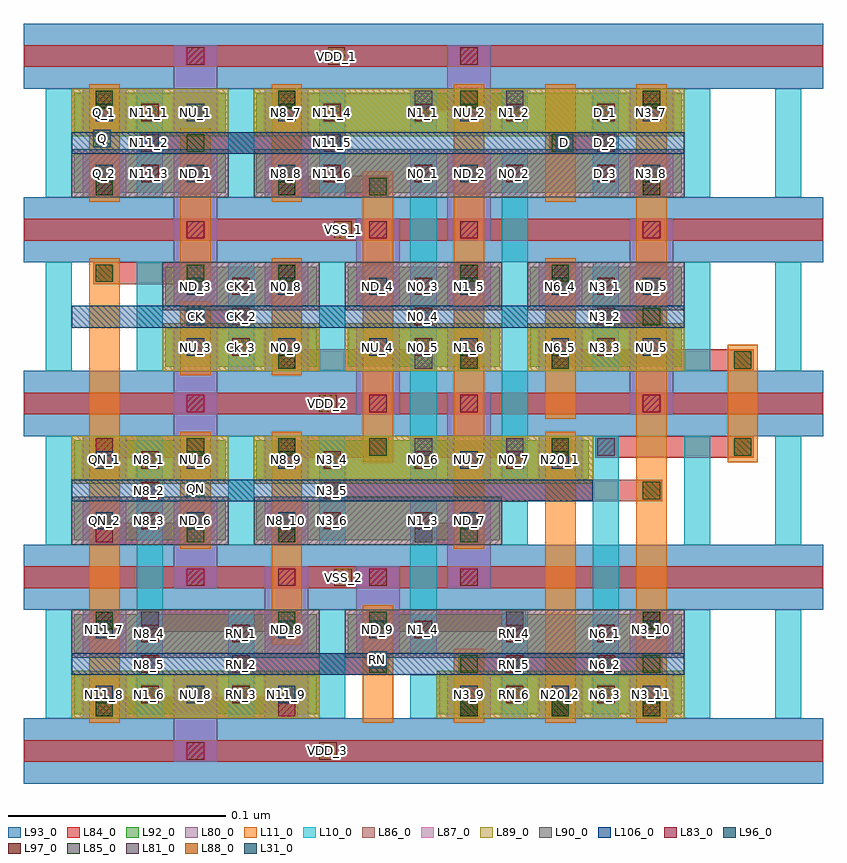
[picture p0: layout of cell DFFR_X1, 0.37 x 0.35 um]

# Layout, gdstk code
import gdstk
lib = gdstk.Library(unit=1e-6, precision=1e-09)
def R(c, l, rs):  # rectangles x0, y0, x1, y1
    for r in rs: c.add(gdstk.rectangle(r[:2], r[2:], *l))
def A(c, l, x, y, w, h, nx, ny, dx, dy):  # array of equal rectangles
    R(c, l, [(x+i*dx, y+j*dy, x+i*dx+w, y+j*dy+h) for i in range(nx) for j in range(ny)])
L10_0 = (10, 0)
L11_0 = (11, 0)
L31_0 = (31, 0)
L80_0 = (80, 0)
L81_0 = (81, 0)
L83_0 = (83, 0)
L84_0 = (84, 0)
L85_0 = (85, 0)
L86_0 = (86, 0)
L87_0 = (87, 0)
L88_0 = (88, 0)
L89_0 = (89, 0)
L90_0 = (90, 0)
L92_0 = (92, 0)
L93_0 = (93, 0)
L96_0 = (96, 0)
L97_0 = (97, 0)
L106_0 = (106, 0)

dffr_x1 = lib.new_cell('DFFR_X1')
A(dffr_x1, L10_0, 0.12, -0.065, 0.012, 0.05, 3, 1, 0.084, 0)
A(dffr_x1, L10_0, -0.006, 0.095, 0.012, 0.05, 4, 2, 0.042, 0.08)
A(dffr_x1, L10_0, 0.246, 0.095, 0.012, 0.05, 3, 2, 0.042, 0.08)
R(dffr_x1, L10_0, [(-0.006,-0.065,0.006,-0.015), (0.036,-0.065,0.048,0.065), (0.078,-0.065,0.09,-0.015), (0.162,-0.065,0.174,-0.045), (0.246,-0.065,0.258,0.065), (0.33,-0.065,0.342,-0.015), (0.162,-0.035,0.174,0.035), (-0.006,0.015,0.006,0.065), (0.078,0.015,0.09,0.065), (0.12,0.015,0.132,0.065), (0.204,0.015,0.216,0.035), (0.288,0.015,0.3,0.065), (0.33,0.015,0.342,0.065), (0.162,0.045,0.174,0.065), (0.162,0.045,0.174,0.195), (0.204,0.045,0.216,0.195), (0.162,0.205,0.174,0.225), (0.204,0.205,0.216,0.225)])
A(dffr_x1, L11_0, 0.098, 0.033, 0.014, 0.034, 3, 1, 0.084, 0)
A(dffr_x1, L11_0, 0.14, 0.073, 0.014, 0.034, 4, 1, 0.042, 0)
A(dffr_x1, L11_0, 0.056, 0.093, 0.014, 0.034, 6, 1, 0.042, 0)
A(dffr_x1, L11_0, 0.098, 0.113, 0.014, 0.034, 5, 1, 0.042, 0)
A(dffr_x1, L11_0, 0.182, 0.133, 0.014, 0.034, 1, 3, 0, 0.02)
A(dffr_x1, L11_0, 0.266, 0.133, 0.014, 0.034, 1, 3, 0, 0.02)
A(dffr_x1, L11_0, 0.014, 0.173, 0.014, 0.034, 3, 1, 0.042, 0)
A(dffr_x1, L11_0, 0.014, 0.193, 0.014, 0.034, 4, 1, 0.084, 0)
R(dffr_x1, L11_0, [(0.014,-0.067,0.028,0.147), (0.14,-0.067,0.154,-0.013), (0.182,-0.067,0.196,-0.033), (0.224,-0.067,0.238,0.067), (0.266,-0.067,0.28,0.047), (0.098,-0.031,0.112,0.047), (0.056,0.013,0.07,0.067), (0.182,0.013,0.196,0.047), (0.14,0.053,0.154,0.087), (0.182,0.053,0.196,0.087), (0.266,0.053,0.28,0.087), (0.308,0.053,0.322,0.107), (0.056,0.133,0.07,0.167), (0.14,0.133,0.154,0.167), (0.056,0.153,0.07,0.187), (0.14,0.153,0.154,0.187), (0.224,0.173,0.238,0.227)])
R(dffr_x1, L31_0, [(0.143,-0.042,0.151,-0.034), (0.059,0.037,0.067,0.045), (0.059,0.116,0.067,0.124), (0.229,0.196,0.237,0.204), (0.016,0.198,0.024,0.206)])
A(dffr_x1, L80_0, 0.053, -0.085, 0.02, 0.021, 1, 4, 0, 0.08)
A(dffr_x1, L80_0, 0.011, -0.065, 0.02, 0.02, 3, 2, 0.042, 0.08)
A(dffr_x1, L80_0, 0.179, -0.065, 0.02, 0.02, 3, 1, 0.042, 0)
A(dffr_x1, L80_0, 0.053, 0.056, 0.02, 0.029, 1, 3, 0, 0.08)
A(dffr_x1, L80_0, 0.053, 0.095, 0.02, 0.02, 6, 1, 0.042, 0)
A(dffr_x1, L80_0, 0.011, 0.175, 0.02, 0.02, 3, 1, 0.042, 0)
R(dffr_x1, L80_0, [(0.011,-0.035,0.031,-0.015), (0.095,-0.035,0.115,-0.015), (0.137,-0.035,0.157,-0.015), (0.263,-0.035,0.283,-0.015), (0.095,-0.016,0.115,0.005), (0.137,-0.016,0.157,0.005), (0.179,-0.005,0.199,0.016), (0.179,0.015,0.199,0.035), (0.011,0.045,0.031,0.065), (0.011,0.045,0.031,0.065), (0.053,0.045,0.073,0.065), (0.053,0.045,0.073,0.065), (0.095,0.045,0.115,0.065), (0.095,0.045,0.115,0.065), (0.179,0.045,0.199,0.065), (0.179,0.045,0.199,0.065), (0.221,0.045,0.241,0.065), (0.179,0.056,0.199,0.085), (0.137,0.075,0.157,0.096), (0.263,0.075,0.283,0.096), (0.053,0.125,0.073,0.145), (0.053,0.125,0.073,0.145), (0.095,0.125,0.115,0.145), (0.095,0.125,0.115,0.145), (0.137,0.125,0.157,0.145), (0.137,0.125,0.157,0.145), (0.179,0.125,0.199,0.145), (0.179,0.125,0.199,0.145), (0.221,0.125,0.241,0.145), (0.221,0.125,0.241,0.145), (0.263,0.125,0.283,0.145), (0.263,0.125,0.283,0.145), (0.137,0.136,0.157,0.165), (0.263,0.136,0.283,0.165), (0.179,0.155,0.199,0.176), (0.179,0.175,0.199,0.195), (0.263,0.175,0.283,0.195), (0.011,0.205,0.031,0.225), (0.011,0.205,0.031,0.225), (0.053,0.205,0.073,0.225), (0.053,0.205,0.073,0.225), (0.095,0.205,0.115,0.225), (0.095,0.205,0.115,0.225), (0.179,0.205,0.199,0.225), (0.179,0.205,0.199,0.225), (0.263,0.205,0.283,0.225), (0.263,0.205,0.283,0.225), (0.179,0.216,0.199,0.245)])
A(dffr_x1, L81_0, 0.164, 0.056, 0.008, 0.008, 3, 1, 0.042, 0)
R(dffr_x1, L81_0, [(0.08,-0.044,0.088,-0.036), (0.038,-0.024,0.046,-0.016), (0.206,-0.024,0.214,-0.016), (0.164,0.016,0.172,0.024), (0.122,0.036,0.13,0.044), (0.164,0.096,0.172,0.104), (0.08,0.116,0.088,0.124), (0.08,0.116,0.088,0.124), (0.248,0.116,0.256,0.124), (0.038,0.196,0.046,0.204), (0.122,0.196,0.13,0.204), (0.122,0.196,0.13,0.204), (0.248,0.196,0.256,0.204), (0.248,0.196,0.256,0.204), (0.164,0.216,0.172,0.224), (0.164,0.216,0.172,0.224), (0.206,0.216,0.214,0.224), (0.206,0.216,0.214,0.224)])
A(dffr_x1, L83_0, 0.017, -0.064, 0.008, 0.008, 3, 1, 0.084, 0)
A(dffr_x1, L83_0, 0.017, -0.024, 0.008, 0.008, 1, 3, 0, 0.04)
A(dffr_x1, L83_0, 0.059, -0.004, 0.008, 0.008, 4, 1, 0.042, 0)
A(dffr_x1, L83_0, 0.101, 0.016, 0.008, 0.008, 1, 5, 0, 0.04)
A(dffr_x1, L83_0, 0.227, 0.056, 0.008, 0.008, 1, 3, 0, 0.04)
R(dffr_x1, L83_0, [(0.059,-0.084,0.067,-0.076), (0.227,-0.064,0.235,-0.056), (0.269,-0.064,0.277,-0.056), (0.269,-0.024,0.277,-0.016), (0.059,0.076,0.067,0.084), (0.143,0.076,0.151,0.084), (0.185,0.076,0.193,0.084), (0.269,0.076,0.277,0.084), (0.185,0.096,0.193,0.104), (0.185,0.136,0.193,0.144), (0.059,0.156,0.067,0.164), (0.059,0.156,0.067,0.164), (0.143,0.156,0.151,0.164), (0.185,0.156,0.193,0.164), (0.269,0.156,0.277,0.164), (0.017,0.176,0.025,0.184), (0.101,0.176,0.109,0.184), (0.269,0.176,0.277,0.184), (0.269,0.176,0.277,0.184), (0.017,0.216,0.025,0.224), (0.017,0.216,0.025,0.224), (0.017,0.216,0.025,0.224), (0.017,0.216,0.025,0.224), (0.017,0.216,0.025,0.224), (0.017,0.216,0.025,0.224), (0.101,0.216,0.109,0.224), (0.101,0.216,0.109,0.224), (0.269,0.216,0.277,0.224), (0.269,0.216,0.277,0.224), (0.059,0.236,0.067,0.244), (0.185,0.236,0.193,0.244)])
A(dffr_x1, L84_0, -0.016, -0.085, 0.368, 0.01, 1, 5, 0, 0.08)
A(dffr_x1, L84_0, 0.184, -0.065, 0.01, 0.01, 3, 1, 0.042, 0)
A(dffr_x1, L84_0, 0.121, 0.035, 0.031, 0.01, 7, 1, 0.021, 0)
A(dffr_x1, L84_0, 0.1, 0.095, 0.031, 0.01, 3, 1, 0.021, 0)
A(dffr_x1, L84_0, 0.037, 0.195, 0.031, 0.01, 4, 1, 0.021, 0)
R(dffr_x1, L84_0, [(0.016,-0.065,0.026,-0.055), (0.016,-0.065,0.11,-0.055), (0.079,-0.045,0.152,-0.035), (0.184,-0.045,0.278,-0.035), (0.016,-0.025,0.026,-0.015), (0.037,-0.025,0.11,-0.015), (0.142,-0.025,0.215,-0.015), (0.268,-0.025,0.278,-0.015), (0.016,0.015,0.068,0.025), (0.1,0.015,0.11,0.025), (0.163,0.015,0.194,0.025), (0.184,0.015,0.194,0.025), (0.016,0.055,0.068,0.065), (0.1,0.055,0.131,0.065), (0.121,0.055,0.152,0.065), (0.163,0.055,0.215,0.065), (0.226,0.055,0.236,0.065), (0.247,0.055,0.32,0.065), (0.184,0.095,0.194,0.105), (0.226,0.095,0.32,0.105), (0.058,0.115,0.089,0.125), (0.247,0.115,0.278,0.125), (0.016,0.135,0.047,0.145), (0.037,0.135,0.068,0.145), (0.1,0.135,0.11,0.145), (0.184,0.135,0.194,0.145), (0.226,0.135,0.236,0.145), (0.016,0.175,0.026,0.185), (0.1,0.175,0.131,0.185), (0.121,0.175,0.152,0.185), (0.268,0.175,0.278,0.185), (0.226,0.195,0.257,0.205), (0.016,0.215,0.026,0.225), (0.1,0.215,0.11,0.225), (0.163,0.215,0.194,0.225), (0.184,0.215,0.215,0.225), (0.268,0.215,0.278,0.225)])
A(dffr_x1, L85_0, 0.185, -0.064, 0.008, 0.008, 3, 1, 0.042, 0)
A(dffr_x1, L85_0, 0.101, 0.016, 0.008, 0.008, 1, 3, 0, 0.08)
A(dffr_x1, L85_0, 0.059, 0.056, 0.008, 0.008, 3, 1, 0.042, 0)
A(dffr_x1, L85_0, 0.227, 0.056, 0.008, 0.008, 1, 3, 0, 0.04)
A(dffr_x1, L85_0, 0.017, 0.136, 0.008, 0.008, 3, 1, 0.042, 0)
A(dffr_x1, L85_0, 0.017, 0.216, 0.008, 0.008, 4, 1, 0.084, 0)
R(dffr_x1, L85_0, [(0.017,-0.064,0.025,-0.056), (0.143,-0.044,0.151,-0.036), (0.185,-0.044,0.193,-0.036), (0.269,-0.044,0.277,-0.036), (0.017,-0.024,0.025,-0.016), (0.101,-0.024,0.109,-0.016), (0.143,-0.024,0.151,-0.016), (0.269,-0.024,0.277,-0.016), (0.059,0.016,0.067,0.024), (0.185,0.016,0.193,0.024), (0.269,0.036,0.277,0.044), (0.311,0.056,0.319,0.064), (0.185,0.096,0.193,0.104), (0.311,0.096,0.319,0.104), (0.059,0.116,0.067,0.124), (0.269,0.116,0.277,0.124), (0.185,0.136,0.193,0.144), (0.017,0.176,0.025,0.184), (0.143,0.176,0.151,0.184), (0.269,0.176,0.277,0.184), (0.059,0.196,0.067,0.204), (0.227,0.196,0.235,0.204)])
A(dffr_x1, L86_0, 0.048, 0.095, 0.072, 0.022, 3, 1, 0.084, 0)
R(dffr_x1, L86_0, [(0.006,-0.065,0.12,-0.043), (0.174,-0.065,0.288,-0.043), (0.006,0.043,0.078,0.065), (0.09,0.043,0.246,0.065), (0.006,0.203,0.078,0.225), (0.09,0.203,0.288,0.225)])
A(dffr_x1, L87_0, 0.048, 0.123, 0.072, 0.022, 3, 1, 0.084, 0)
R(dffr_x1, L87_0, [(0.006,-0.037,0.12,-0.015), (0.132,-0.037,0.288,-0.015), (0.006,0.015,0.078,0.037), (0.09,0.015,0.204,0.037), (0.006,0.175,0.078,0.197), (0.09,0.175,0.288,0.197)])
R(dffr_x1, L88_0, [(0.12,-0.084,0.128,-0.076), (0.127,-0.004,0.135,0.004), (0.12,0.076,0.128,0.084), (0.127,0.156,0.135,0.164), (0.124,0.236,0.132,0.244)])
A(dffr_x1, L89_0, 0.048, 0.095, 0.072, 0.022, 3, 1, 0.084, 0)
R(dffr_x1, L89_0, [(0.006,-0.065,0.12,-0.043), (0.174,-0.065,0.288,-0.043), (0.006,0.043,0.078,0.065), (0.09,0.043,0.246,0.065), (0.006,0.203,0.078,0.225), (0.09,0.203,0.288,0.225)])
A(dffr_x1, L90_0, 0.048, 0.123, 0.072, 0.022, 3, 1, 0.084, 0)
R(dffr_x1, L90_0, [(0.006,-0.037,0.12,-0.015), (0.132,-0.037,0.288,-0.015), (0.006,0.015,0.078,0.037), (0.09,0.015,0.204,0.037), (0.006,0.175,0.078,0.197), (0.09,0.175,0.288,0.197)])
A(dffr_x1, L92_0, 0.049, 0.097, 0.07, 0.018, 3, 2, 0.084, 0.028)
R(dffr_x1, L92_0, [(0.007,-0.063,0.119,-0.045), (0.175,-0.063,0.287,-0.045), (0.007,-0.035,0.119,-0.017), (0.133,-0.035,0.287,-0.017), (0.007,0.017,0.077,0.035), (0.091,0.017,0.203,0.035), (0.007,0.045,0.077,0.063), (0.091,0.045,0.244,0.063), (0.007,0.177,0.077,0.195), (0.091,0.177,0.287,0.195), (0.007,0.205,0.077,0.223), (0.091,0.205,0.287,0.223)])
A(dffr_x1, L93_0, -0.016, -0.095, 0.368, 0.03, 1, 5, 0, 0.08)
A(dffr_x1, L96_0, 0.017, -0.058, 0.008, 0.008, 3, 2, 0.042, 0.08)
A(dffr_x1, L96_0, 0.185, -0.058, 0.008, 0.008, 3, 1, 0.042, 0)
A(dffr_x1, L96_0, 0.017, 0.05, 0.008, 0.008, 3, 2, 0.042, 0.132)
A(dffr_x1, L96_0, 0.059, 0.102, 0.008, 0.008, 6, 2, 0.042, 0.028)
A(dffr_x1, L96_0, 0.017, 0.21, 0.008, 0.008, 3, 1, 0.042, 0)
R(dffr_x1, L96_0, [(0.185,-0.064,0.193,-0.056), (0.227,-0.064,0.235,-0.056), (0.017,-0.028,0.025,-0.02), (0.101,-0.028,0.109,-0.02), (0.143,-0.028,0.151,-0.02), (0.269,-0.028,0.277,-0.02), (0.185,0.022,0.193,0.03), (0.185,0.05,0.193,0.058), (0.227,0.05,0.235,0.058), (0.227,0.05,0.235,0.058), (0.185,0.182,0.193,0.19), (0.269,0.182,0.277,0.19), (0.185,0.21,0.193,0.218), (0.269,0.21,0.277,0.218)])
A(dffr_x1, L97_0, 0.038, -0.058, 0.008, 0.008, 1, 3, 0, 0.014)
A(dffr_x1, L97_0, 0.08, -0.058, 0.008, 0.008, 1, 3, 0, 0.014)
A(dffr_x1, L97_0, 0.206, -0.058, 0.008, 0.008, 1, 3, 0, 0.014)
A(dffr_x1, L97_0, 0.248, -0.058, 0.008, 0.008, 1, 3, 0, 0.014)
A(dffr_x1, L97_0, 0.038, 0.022, 0.008, 0.008, 1, 3, 0, 0.014)
A(dffr_x1, L97_0, 0.122, 0.05, 0.008, 0.008, 3, 1, 0.042, 0)
A(dffr_x1, L97_0, 0.08, 0.102, 0.008, 0.008, 3, 3, 0.084, 0.014)
A(dffr_x1, L97_0, 0.038, 0.182, 0.008, 0.008, 1, 3, 0, 0.014)
A(dffr_x1, L97_0, 0.122, 0.182, 0.008, 0.008, 4, 2, 0.042, 0.028)
R(dffr_x1, L97_0, [(0.164,-0.028,0.172,-0.02), (0.122,0.022,0.13,0.03), (0.164,0.022,0.172,0.03), (0.122,0.036,0.13,0.044), (0.122,0.196,0.13,0.204), (0.248,0.196,0.256,0.204)])
R(dffr_x1, L106_0, [(0.006,-0.045,0.288,-0.035), (0.006,0.035,0.246,0.045), (0.006,0.115,0.288,0.125), (0.006,0.195,0.288,0.205)])
dffr_x1.add(gdstk.Label('VSS_1', (0.131,0.16), layer=88, texttype=0))
dffr_x1.add(gdstk.Label('VSS_2', (0.131,0), layer=88, texttype=0))
dffr_x1.add(gdstk.Label('VDD_2', (0.124,0.08), layer=88, texttype=0))
dffr_x1.add(gdstk.Label('VDD_1', (0.128,0.24), layer=88, texttype=0))
dffr_x1.add(gdstk.Label('VDD_3', (0.124,-0.08), layer=88, texttype=0))
dffr_x1.add(gdstk.Label('ND_5', (0.273,0.134), layer=96, texttype=0))
dffr_x1.add(gdstk.Label('ND_9', (0.147,-0.024), layer=96, texttype=0))
dffr_x1.add(gdstk.Label('Q_2', (0.021,0.186), layer=96, texttype=0))
dffr_x1.add(gdstk.Label('N0_9', (0.105,0.106), layer=96, texttype=0))
dffr_x1.add(gdstk.Label('N0_8', (0.105,0.134), layer=96, texttype=0))
dffr_x1.add(gdstk.Label('ND_4', (0.147,0.134), layer=96, texttype=0))
dffr_x1.add(gdstk.Label('NU_4', (0.147,0.106), layer=96, texttype=0))
dffr_x1.add(gdstk.Label('N1_5', (0.189,0.134), layer=96, texttype=0))
dffr_x1.add(gdstk.Label('N1_6', (0.189,0.106), layer=96, texttype=0))
dffr_x1.add(gdstk.Label('N6_5', (0.231,0.106), layer=96, texttype=0))
dffr_x1.add(gdstk.Label('N6_4', (0.231,0.134), layer=96, texttype=0))
dffr_x1.add(gdstk.Label('ND_6', (0.063,0.026), layer=96, texttype=0))
dffr_x1.add(gdstk.Label('NU_6', (0.063,0.054), layer=96, texttype=0))
dffr_x1.add(gdstk.Label('QN_1', (0.021,0.054), layer=96, texttype=0))
dffr_x1.add(gdstk.Label('QN_2', (0.021,0.026), layer=96, texttype=0))
dffr_x1.add(gdstk.Label('N8_10', (0.105,0.026), layer=96, texttype=0))
dffr_x1.add(gdstk.Label('N8_9', (0.105,0.054), layer=96, texttype=0))
dffr_x1.add(gdstk.Label('ND_7', (0.189,0.026), layer=96, texttype=0))
dffr_x1.add(gdstk.Label('NU_7', (0.189,0.054), layer=96, texttype=0))
dffr_x1.add(gdstk.Label('NU_5', (0.273,0.106), layer=96, texttype=0))
dffr_x1.add(gdstk.Label('N3_10', (0.273,-0.024), layer=96, texttype=0))
dffr_x1.add(gdstk.Label('N3_7', (0.273,0.214), layer=96, texttype=0))
dffr_x1.add(gdstk.Label('N3_8', (0.273,0.186), layer=96, texttype=0))
dffr_x1.add(gdstk.Label('N8_8', (0.105,0.186), layer=96, texttype=0))
dffr_x1.add(gdstk.Label('N8_7', (0.105,0.214), layer=96, texttype=0))
dffr_x1.add(gdstk.Label('ND_1', (0.063,0.186), layer=96, texttype=0))
dffr_x1.add(gdstk.Label('NU_1', (0.063,0.214), layer=96, texttype=0))
dffr_x1.add(gdstk.Label('Q_1', (0.021,0.214), layer=96, texttype=0))
dffr_x1.add(gdstk.Label('NU_3', (0.063,0.106), layer=96, texttype=0))
dffr_x1.add(gdstk.Label('ND_3', (0.063,0.134), layer=96, texttype=0))
dffr_x1.add(gdstk.Label('NU_2', (0.189,0.214), layer=96, texttype=0))
dffr_x1.add(gdstk.Label('ND_2', (0.189,0.186), layer=96, texttype=0))
dffr_x1.add(gdstk.Label('N11_9', (0.105,-0.054), layer=96, texttype=0))
dffr_x1.add(gdstk.Label('ND_8', (0.105,-0.024), layer=96, texttype=0))
dffr_x1.add(gdstk.Label('NU_8', (0.063,-0.054), layer=96, texttype=0))
dffr_x1.add(gdstk.Label('N11_8', (0.021,-0.054), layer=96, texttype=0))
dffr_x1.add(gdstk.Label('N11_7', (0.021,-0.024), layer=96, texttype=0))
dffr_x1.add(gdstk.Label('N3_11', (0.273,-0.054), layer=96, texttype=0))
dffr_x1.add(gdstk.Label('N3_9', (0.189,-0.054), layer=96, texttype=0))
dffr_x1.add(gdstk.Label('N20_2', (0.231,-0.054), layer=96, texttype=0))
dffr_x1.add(gdstk.Label('N20_1', (0.231,0.054), layer=96, texttype=0))
dffr_x1.add(gdstk.Label('N1_2', (0.21,0.214), layer=97, texttype=0))
dffr_x1.add(gdstk.Label('N0_2', (0.21,0.186), layer=97, texttype=0))
dffr_x1.add(gdstk.Label('D_3', (0.252,0.186), layer=97, texttype=0))
dffr_x1.add(gdstk.Label('D_2', (0.252,0.2), layer=97, texttype=0))
dffr_x1.add(gdstk.Label('N11_2', (0.042,0.2), layer=97, texttype=0))
dffr_x1.add(gdstk.Label('N11_5', (0.126,0.2), layer=97, texttype=0))
dffr_x1.add(gdstk.Label('N1_1', (0.168,0.214), layer=97, texttype=0))
dffr_x1.add(gdstk.Label('N0_1', (0.168,0.186), layer=97, texttype=0))
dffr_x1.add(gdstk.Label('CK_2', (0.084,0.12), layer=97, texttype=0))
dffr_x1.add(gdstk.Label('N3_2', (0.252,0.12), layer=97, texttype=0))
dffr_x1.add(gdstk.Label('N6_1', (0.252,-0.026), layer=97, texttype=0))
dffr_x1.add(gdstk.Label('D_1', (0.252,0.214), layer=97, texttype=0))
dffr_x1.add(gdstk.Label('N0_4', (0.168,0.12), layer=97, texttype=0))
dffr_x1.add(gdstk.Label('N0_7', (0.21,0.054), layer=97, texttype=0))
dffr_x1.add(gdstk.Label('N1_3', (0.168,0.026), layer=97, texttype=0))
dffr_x1.add(gdstk.Label('N0_6', (0.168,0.054), layer=97, texttype=0))
dffr_x1.add(gdstk.Label('N3_5', (0.126,0.04), layer=97, texttype=0))
dffr_x1.add(gdstk.Label('N8_2', (0.042,0.04), layer=97, texttype=0))
dffr_x1.add(gdstk.Label('N1_4', (0.168,-0.024), layer=97, texttype=0))
dffr_x1.add(gdstk.Label('N8_5', (0.042,-0.04), layer=97, texttype=0))
dffr_x1.add(gdstk.Label('RN_2', (0.084,-0.04), layer=97, texttype=0))
dffr_x1.add(gdstk.Label('RN_6', (0.21,-0.054), layer=97, texttype=0))
dffr_x1.add(gdstk.Label('N11_3', (0.042,0.186), layer=97, texttype=0))
dffr_x1.add(gdstk.Label('N11_1', (0.042,0.214), layer=97, texttype=0))
dffr_x1.add(gdstk.Label('N11_6', (0.126,0.186), layer=97, texttype=0))
dffr_x1.add(gdstk.Label('N11_4', (0.126,0.214), layer=97, texttype=0))
dffr_x1.add(gdstk.Label('CK_1', (0.084,0.134), layer=97, texttype=0))
dffr_x1.add(gdstk.Label('Ck_3', (0.084,0.106), layer=97, texttype=0))
dffr_x1.add(gdstk.Label('N0_3', (0.168,0.134), layer=97, texttype=0))
dffr_x1.add(gdstk.Label('N0_5', (0.168,0.106), layer=97, texttype=0))
dffr_x1.add(gdstk.Label('N3_3', (0.252,0.106), layer=97, texttype=0))
dffr_x1.add(gdstk.Label('N3_1', (0.252,0.134), layer=97, texttype=0))
dffr_x1.add(gdstk.Label('N3_6', (0.126,0.026), layer=97, texttype=0))
dffr_x1.add(gdstk.Label('N3_4', (0.126,0.054), layer=97, texttype=0))
dffr_x1.add(gdstk.Label('N8_3', (0.042,0.026), layer=97, texttype=0))
dffr_x1.add(gdstk.Label('N8_1', (0.042,0.054), layer=97, texttype=0))
dffr_x1.add(gdstk.Label('N8_4', (0.042,-0.026), layer=97, texttype=0))
dffr_x1.add(gdstk.Label('N1_6', (0.042,-0.054), layer=97, texttype=0))
dffr_x1.add(gdstk.Label('RN_1', (0.084,-0.026), layer=97, texttype=0))
dffr_x1.add(gdstk.Label('RN_3', (0.084,-0.054), layer=97, texttype=0))
dffr_x1.add(gdstk.Label('N6_2', (0.252,-0.04), layer=97, texttype=0))
dffr_x1.add(gdstk.Label('N6_3', (0.252,-0.054), layer=97, texttype=0))
dffr_x1.add(gdstk.Label('RN_5', (0.21,-0.04), layer=97, texttype=0))
dffr_x1.add(gdstk.Label('RN_4', (0.21,-0.026), layer=97, texttype=0))
dffr_x1.add(gdstk.Label('Q', (0.02,0.202), layer=31, texttype=0))
dffr_x1.add(gdstk.Label('QN', (0.063,0.041), layer=31, texttype=0))
dffr_x1.add(gdstk.Label('CK', (0.063,0.12), layer=31, texttype=0))
dffr_x1.add(gdstk.Label('D', (0.233,0.2), layer=31, texttype=0))
dffr_x1.add(gdstk.Label('RN', (0.147,-0.038), layer=31, texttype=0))

lib.write_gds('DFFR_X1.gds')
